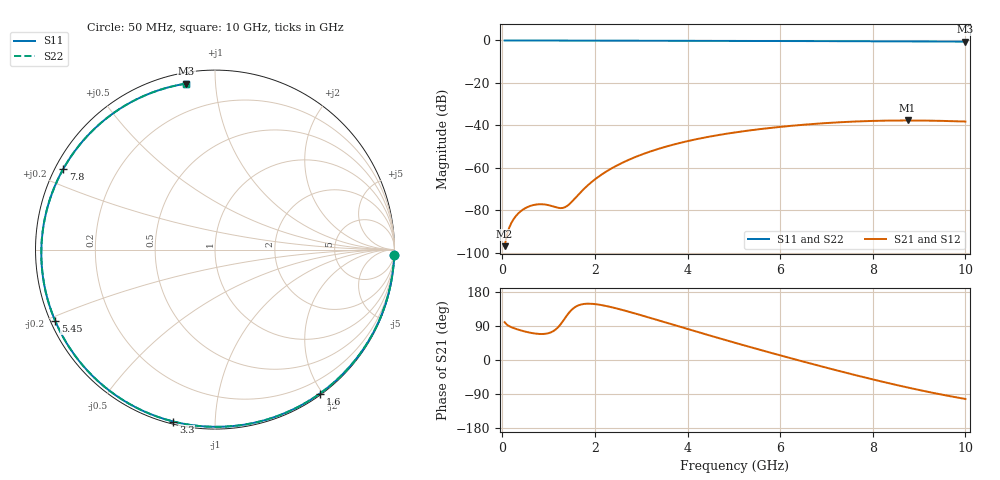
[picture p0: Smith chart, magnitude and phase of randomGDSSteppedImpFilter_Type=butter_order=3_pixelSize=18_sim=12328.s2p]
! freq	dB(S11)	phase(S11)	dB(S12)	phase(S12)
!  dB(S21)	phase(S21)	dB(S22)	phase(S22)
!S-par simulation data
#  GHz  S  DB  R 50
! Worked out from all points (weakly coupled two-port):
!   200 points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, 50 MHz to 10 GHz, reference 50 ohm
!   highest |S21| = -37.73 dB at 8.75 GHz (marker M1); lowest = -97.0 dB at 50 MHz (marker M2)
!   lowest |S11| = -0.6 dB at 10 GHz (marker M3), VSWR 31.59, Z = 2.7 + j42 ohm
!   |S11| at or under -10 dB: nowhere
!   |S22| runs from -0.6 to 0.0 dB; largest |S21 - S12| = 0
!   S11 on the Smith chart (normalised r, x): 50 MHz: 1, -68; 1.6 GHz: 0.02, -1.96; 3.3 GHz: 0.01, -0.79; 5.45 GHz: 0.01, -0.21; 7.8 GHz: 0.02, +0.25; 10 GHz: 0.05, +0.84
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0.05  -0.00 -1.7  -97.00 99.8  -97.00 99.8  -0.00 -1.7
0.4  -0.02 -13.8  -80.49 78.1  -80.49 78.1  -0.02 -13.8
0.8  -0.04 -27.6  -77.23 68.7  -77.23 68.7  -0.04 -27.6
1.3  -0.06 -44.3  -79.00 101.0  -79.00 101.0  -0.06 -44.3
1.4  -0.06 -47.5  -78.04 118.4  -78.04 118.4  -0.06 -47.5
1.6  -0.07 -53.9  -73.72 141.7  -73.72 141.7  -0.07 -53.9
1.75  -0.07 -58.7  -70.28 147.6  -70.28 147.6  -0.07 -58.7
2.05  -0.08 -68.0  -64.69 146.8  -64.69 146.8  -0.08 -68.0
2.4  -0.10 -78.5  -59.83 138.1  -59.83 138.1  -0.10 -78.5
2.8  -0.11 -90.0  -55.62 125.1  -55.62 125.1  -0.11 -90.0
3.3  -0.13 -103.7  -51.61 107.3  -51.61 107.3  -0.13 -103.7
3.4  -0.13 -106.3  -50.93 103.7  -50.93 103.7  -0.13 -106.3
4.25  -0.16 -127.8  -46.30 72.8  -46.30 72.8  -0.16 -127.9
5.05  -0.20 -146.8  -43.29 44.6  -43.29 44.6  -0.20 -146.8
5.45  -0.22 -155.9  -42.11 30.8  -42.11 30.8  -0.22 -155.9
6.05  -0.25 -169.3  -40.65 10.6  -40.65 10.6  -0.25 -169.3
6.7  -0.30 176.3  -39.41 -10.7  -39.41 -10.7  -0.30 176.3
7.8  -0.38 151.9  -38.07 -45.2  -38.07 -45.2  -0.38 151.9
8.35  -0.42 139.4  -37.78 -61.4  -37.78 -61.4  -0.42 139.4
8.75  -0.45 130.1  -37.73 -72.5  -37.73 -72.5  -0.45 130.1
9.4  -0.50 114.6  -37.88 -89.2  -37.88 -89.2  -0.50 114.6
10  -0.55 99.8  -38.23 -102.9  -38.23 -102.9  -0.55 99.8
